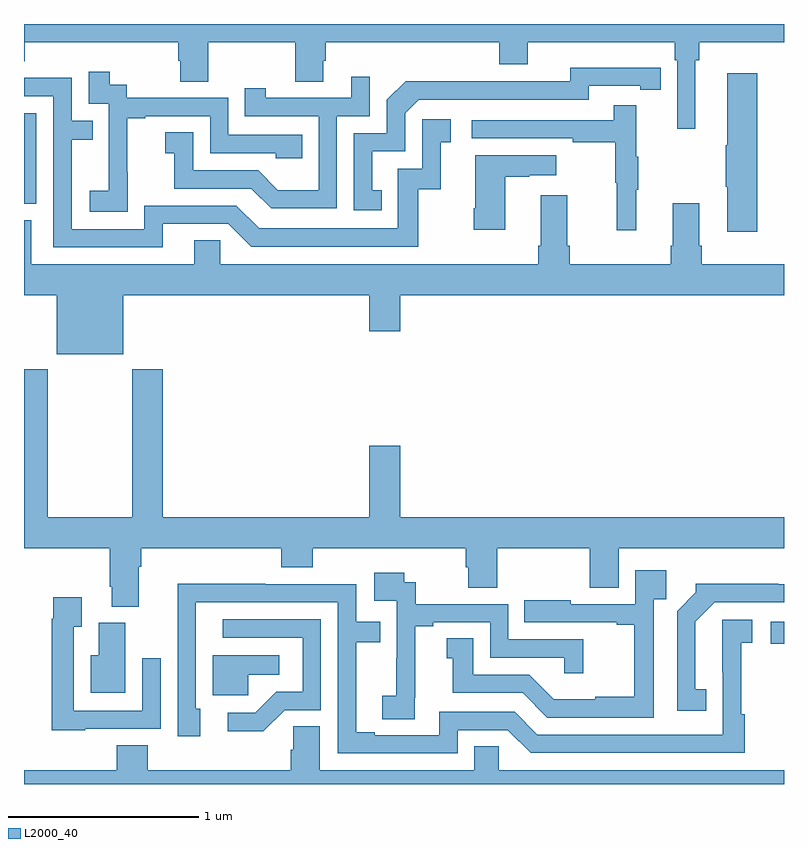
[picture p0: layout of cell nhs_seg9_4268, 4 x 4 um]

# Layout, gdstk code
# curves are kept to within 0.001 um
import gdstk
lib = gdstk.Library(unit=1e-6, precision=1e-09)
def R(c, l, rs):  # rectangles x0, y0, x1, y1
    for r in rs: c.add(gdstk.rectangle(r[:2], r[2:], *l))
def P(c, l, *ps):  # polygons
    for p in ps: c.add(gdstk.Polygon(p, *l))
L2000_40 = (2000, 40)

nhs_seg9_4268 = lib.new_cell('nhs_seg9_4268')
R(nhs_seg9_4268, L2000_40, [(358.929,1209.238,359,1209.354), (355,1211.553,355.065,1212.03)])
P(nhs_seg9_4268, L2000_40, [(355,1212.305),(355.004,1212.305),(355.004,1212.404),(355.811,1212.404),(355.811,1212.306),(355.823,1212.306),(355.823,1212.196),(355.971,1212.196),(355.971,1212.404),(356.428,1212.404),(356.428,1212.196),(356.575,1212.196),(356.575,1212.306),(356.588,1212.306),(356.588,1212.404),(357.5,1212.404),(357.5,1212.287),(357.652,1212.287),(357.652,1212.404),(358.424,1212.404),(358.424,1212.308),(358.437,1212.308),(358.437,1211.949),(358.534,1211.949),(358.534,1212.308),(358.553,1212.308),(358.553,1212.404),(359,1212.404),(359,1212.5),(355,1212.5)],
  [(356.882,1211.625),(356.833,1211.625),(356.833,1211.829),(357.006,1211.829),(357.006,1212.03),(357.078,1212.102),(357.972,1212.102),(357.972,1212.174),(358.244,1212.174),(358.244,1212.154),(358.352,1212.154),(358.352,1212.27),(357.876,1212.271),(357.876,1212.198),(357.416,1212.198),(357.416,1212.2),(357.008,1212.2),(356.91,1212.102),(356.91,1211.925),(356.736,1211.925),(356.736,1211.52),(356.882,1211.52)],
  [(355.545,1211.719),(355.544,1211.719),(355.544,1212.003),(355.639,1212.003),(355.639,1212.015),(355.98,1212.015),(355.98,1211.82),(356.325,1211.82),(356.325,1211.793),(356.465,1211.793),(356.465,1211.916),(356.076,1211.916),(356.076,1212.111),(355.542,1212.111),(355.542,1212.18),(355.45,1212.18),(355.45,1212.25),(355.341,1212.25),(355.341,1212.081),(355.446,1212.081),(355.446,1211.852),(355.445,1211.852),(355.445,1211.623),(355.347,1211.623),(355.347,1211.513),(355.545,1211.513)],
  [(358.859,1212.241),(358.7,1212.241),(358.7,1211.861),(358.693,1211.861),(358.693,1211.644),(358.7,1211.644),(358.7,1211.406),(358.859,1211.406)],
  [(356.646,1212.015),(356.82,1212.015),(356.82,1212.223),(356.723,1212.223),(356.723,1212.111),(356.272,1212.111),(356.272,1212.163),(356.161,1212.163),(356.161,1212.015),(356.55,1212.015),(356.55,1211.626),(356.336,1211.626),(356.232,1211.73),(355.89,1211.73),(355.89,1211.929),(355.743,1211.929),(355.743,1211.819),(355.792,1211.819),(355.792,1211.634),(356.195,1211.634),(356.3,1211.529),(356.646,1211.529)],
  [(355.729,1211.448),(356.076,1211.448),(356.196,1211.328),(357.076,1211.328),(357.076,1211.631),(357.194,1211.631),(357.194,1211.877),(357.247,1211.877),(357.247,1211.998),(357.096,1211.998),(357.096,1211.739),(356.967,1211.739),(356.967,1211.424),(356.238,1211.424),(356.118,1211.544),(355.632,1211.544),(355.632,1211.421),(355.251,1211.421),(355.251,1211.89),(355.361,1211.89),(355.361,1211.991),(355.251,1211.991),(355.251,1212.216),(355,1212.216),(355,1212.12),(355.155,1212.12),(355.155,1211.325),(355.729,1211.325)],
  [(358.223,1211.627),(358.234,1211.627),(358.234,1211.801),(358.223,1211.801),(358.223,1212.073),(358.105,1212.073),(358.105,1211.994),(357.357,1211.994),(357.357,1211.898),(357.889,1211.898),(357.889,1211.878),(358.113,1211.878),(358.113,1211.664),(358.12,1211.664),(358.12,1211.415),(358.223,1211.415)],
  [(357.532,1211.695),(357.659,1211.695),(357.659,1211.705),(357.802,1211.705),(357.802,1211.809),(357.374,1211.809),(357.374,1211.53),(357.367,1211.53),(357.367,1211.418),(357.532,1211.418)],
  [(355.522,1211.072),(356.816,1211.072),(356.816,1210.884),(356.98,1210.884),(356.98,1211.072),(359,1211.072),(359,1211.236),(358.568,1211.236),(358.568,1211.332),(358.555,1211.332),(358.555,1211.557),(358.415,1211.557),(358.415,1211.332),(358.403,1211.332),(358.403,1211.236),(357.872,1211.236),(357.872,1211.332),(357.859,1211.332),(357.859,1211.599),(357.719,1211.599),(357.719,1211.332),(357.707,1211.332),(357.707,1211.236),(356.034,1211.236),(356.034,1211.363),(355.895,1211.363),(355.895,1211.236),(355.039,1211.236),(355.039,1211.468),(355,1211.468),(355,1211.072),(355.172,1211.072),(355.172,1210.763),(355.522,1210.763)],
  [(355.603,1209.644),(355.616,1209.644),(355.616,1209.74),(356.354,1209.74),(356.354,1209.641),(356.519,1209.641),(356.519,1209.74),(357.326,1209.74),(357.326,1209.642),(357.338,1209.642),(357.338,1209.532),(357.491,1209.532),(357.491,1209.74),(357.977,1209.74),(357.977,1209.532),(358.129,1209.532),(358.129,1209.74),(359,1209.74),(359,1209.904),(356.98,1209.904),(356.98,1210.279),(356.816,1210.279),(356.816,1209.904),(355.73,1209.904),(355.73,1210.684),(355.57,1210.684),(355.57,1209.904),(355.125,1209.904),(355.125,1210.684),(355,1210.684),(355,1209.74),(355.451,1209.74),(355.451,1209.538),(355.463,1209.538),(355.463,1209.433),(355.603,1209.433)],
  [(358.314,1209.473),(358.379,1209.473),(358.379,1209.625),(358.218,1209.625),(358.218,1209.447),(357.877,1209.447),(357.877,1209.466),(357.634,1209.466),(357.634,1209.351),(358.121,1209.351),(358.121,1209.339),(358.213,1209.339),(358.213,1208.959),(358.007,1208.959),(358.007,1208.947),(357.788,1208.947),(357.66,1209.075),(357.364,1209.075),(357.364,1209.266),(357.224,1209.266),(357.224,1209.163),(357.257,1209.163),(357.257,1208.979),(357.624,1208.979),(357.753,1208.85),(358.314,1208.85)],
  [(357.056,1208.953),(357.058,1208.953),(357.058,1209.331),(357.154,1209.331),(357.154,1209.351),(357.453,1209.351),(357.453,1209.165),(357.843,1209.165),(357.843,1209.084),(357.944,1209.084),(357.944,1209.261),(357.549,1209.261),(357.549,1209.447),(357.062,1209.447),(357.062,1209.561),(357,1209.561),(357,1209.613),(356.844,1209.613),(356.844,1209.465),(356.961,1209.465),(356.961,1209.161),(356.96,1209.161),(356.96,1208.964),(356.886,1208.964),(356.886,1208.842),(357.056,1208.842)],
  [(357.282,1208.784),(357.546,1208.784),(357.666,1208.664),(358.793,1208.664),(358.793,1208.867),(358.776,1208.867),(358.776,1209.243),(358.834,1209.243),(358.834,1209.364),(358.676,1209.364),(358.677,1208.76),(357.702,1208.76),(357.582,1208.88),(357.186,1208.88),(357.186,1208.757),(356.845,1208.757),(356.845,1208.772),(356.749,1208.772),(356.749,1209.246),(356.876,1209.246),(356.876,1209.354),(356.748,1209.354),(356.748,1209.552),(356.27,1209.552),(356.27,1209.554),(355.808,1209.554),(355.809,1208.751),(355.927,1208.751),(355.927,1208.895),(355.905,1208.895),(355.905,1209.456),(356.652,1209.456),(356.652,1208.661),(357.282,1208.661)],
  [(358.592,1208.999),(358.534,1208.999),(358.534,1209.355),(358.635,1209.456),(359,1209.456),(359,1209.552),(358.97,1209.552),(358.97,1209.554),(358.536,1209.554),(358.536,1209.509),(358.437,1209.41),(358.437,1208.886),(358.592,1208.886)],
  [(355.323,1208.79),(355.719,1208.79),(355.719,1209.163),(355.623,1209.163),(355.623,1208.886),(355.263,1208.886),(355.263,1209.328),(355.303,1209.328),(355.303,1209.484),(355.155,1209.484),(355.155,1209.371),(355.147,1209.371),(355.147,1208.783),(355.323,1208.783)],
  [(356.373,1208.889),(356.562,1208.889),(356.562,1209.366),(356.046,1209.366),(356.046,1209.27),(356.466,1209.27),(356.466,1208.985),(356.328,1208.985),(356.217,1208.874),(356.073,1208.874),(356.073,1208.777),(356.26,1208.777)],
  [(355.534,1209.348),(355.394,1209.348),(355.394,1209.178),(355.352,1209.178),(355.352,1208.981),(355.534,1208.981)],
  [(356.181,1209.074),(356.344,1209.074),(356.344,1209.178),(355.994,1209.178),(355.994,1208.967),(356.181,1208.967)],
  [(359,1208.572),(357.498,1208.572),(357.498,1208.699),(357.371,1208.699),(357.371,1208.572),(356.557,1208.572),(356.557,1208.804),(356.418,1208.804),(356.418,1208.681),(356.405,1208.681),(356.405,1208.572),(355.652,1208.572),(355.652,1208.705),(355.487,1208.705),(355.487,1208.572),(355,1208.572),(355,1208.5),(359,1208.5)])

lib.write_gds('nhs_seg9_4268.gds')
